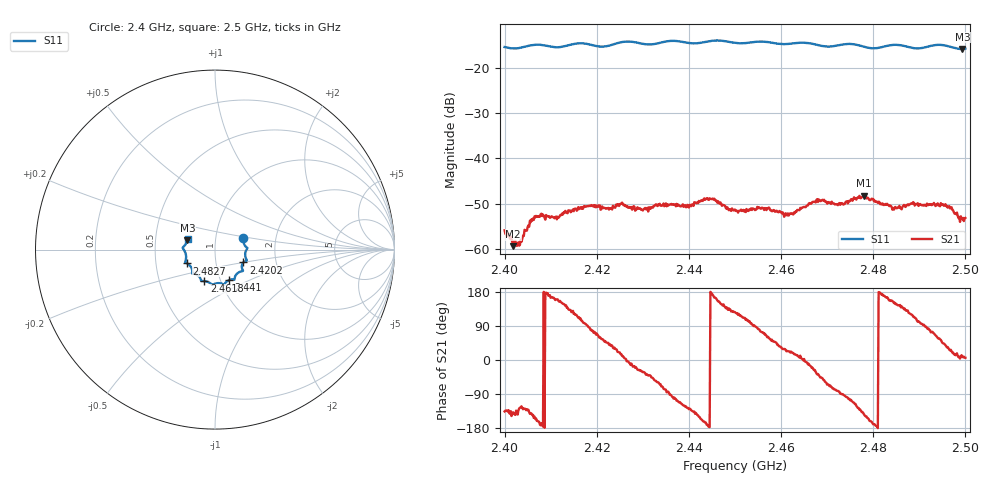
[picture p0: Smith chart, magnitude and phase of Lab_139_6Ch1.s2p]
# Hz S RI R 50
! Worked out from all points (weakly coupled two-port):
!   601 points, 2.4 GHz to 2.5 GHz, reference 50 ohm
!   highest |S21| = -48.28 dB at 2.478 GHz (marker M1); lowest = -59.4 dB at 2.4018 GHz (marker M2)
!   lowest |S11| = -15.8 dB at 2.4993 GHz (marker M3), VSWR 1.39, Z = 36.5 + j3.84 ohm
!   |S11| at or under -10 dB: start of sweep to end of sweep
!   S12 and S22 are empty: the file has one direction only
!   S11 on the Smith chart (normalised r, x): 2.4 GHz: 1.36, +0.18; 2.4202 GHz: 1.36, -0.20; 2.441 GHz: 1.10, -0.39; 2.4618 GHz: 0.84, -0.30; 2.4827 GHz: 0.72, -0.12; 2.5 GHz: 0.73, +0.09
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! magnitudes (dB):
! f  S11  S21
! 2.4 GHz  -15.4  -55.9
! 2.4018 GHz  -15.7  -59.4
! 2.4032 GHz  -15.6  -59.3
! 2.407 GHz  -14.8  -52.9
! 2.4113 GHz  -15.4  -53.5
! 2.4167 GHz  -14.5  -51.1
! 2.4202 GHz  -15.2  -50.7
! 2.4302 GHz  -14.7  -51.2
! 2.4333 GHz  -14.5  -50.2
! 2.441 GHz  -14.6  -50.5
! 2.445 GHz  -14.0  -49.0
! 2.45 GHz  -14.4  -51.3
! 2.4553 GHz  -14.2  -50.9
! 2.4618 GHz  -14.7  -52.3
! 2.4667 GHz  -14.6  -49.8
! 2.4733 GHz  -14.8  -49.9
! 2.478 GHz  -15.3  -48.3
! 2.4827 GHz  -15.2  -50.1
! 2.4833 GHz  -15.0  -50.4
! 2.4952 GHz  -14.9  -50.2
! 2.4993 GHz  -15.8  -53.5
! 2.5 GHz  -15.7  -53.2
